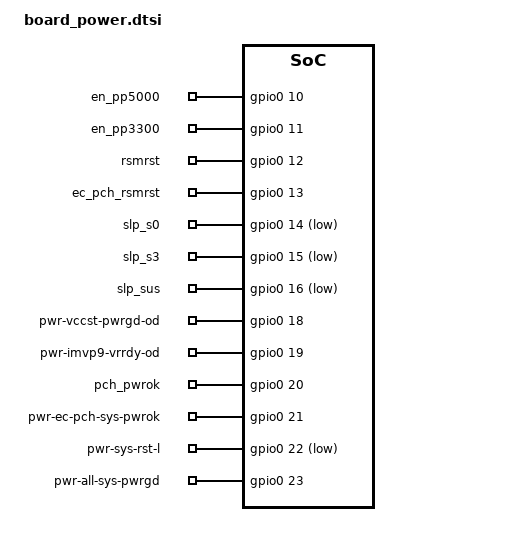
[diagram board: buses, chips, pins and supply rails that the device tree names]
/* Copyright 2022 The ChromiumOS Authors
 * Use of this source code is governed by a BSD-style license that can be
 * found in the LICENSE file.
 */

#include <dt-bindings/gpio_defines.h>

/ {
	common-pwrseq {
		compatible = "intel,ap-pwrseq";
	};
	named-gpios {
		compatible = "named-gpios";
		ec_bl_disable_l {
			gpios = <&gpio0 1 GPIO_INPUT>;
			enum-name = "GPIO_ENABLE_BACKLIGHT";
		};
		gpio_pch_pwrbtn_l: pch_pwrbtn_l {
			gpios = <&gpio0 2 GPIO_OUTPUT>;
			enum-name = "GPIO_PCH_PWRBTN_L";
		};
		gpio_ec_pwr_btn_odl: ec_pwr_btn_odl {
			/* GPIO_PULL_UP will cause this start asserted,
			 * i.e. not pressed.
			 */
			gpios = <&gpio0 3 (GPIO_INPUT | GPIO_PULL_UP)>;
			enum-name = "GPIO_POWER_BUTTON_L";
		};
		gpio_wp_l: wp_l {
			gpios = <&gpio0 4 (GPIO_INPUT | GPIO_ACTIVE_LOW)>;
		};
		entering-rw {
			gpios = <&gpio0 5 GPIO_OUTPUT_LOW>;
			enum-name = "GPIO_ENTERING_RW";
		};
	};
	en_pp5000: pwr-en-pp5000-s5 {
		compatible = "intel,ap-pwrseq-gpio";
		dbg-label = "PP5000_S5 enable output to regulator";
		enum-name = "PWR_EN_PP5000_A";
		gpios = <&gpio0 10 0>;
		output;
	};
	en_pp3300: pwr-en-pp3300-s5 {
		compatible = "intel,ap-pwrseq-gpio";
		dbg-label = "PP3300_S5 enable output to LS";
		enum-name = "PWR_EN_PP3300_A";
		gpios = <&gpio0 11 0>;
		output;
	};
	rsmrst: pwr-pg-ec-rsmrst-odl {
		compatible = "intel,ap-pwrseq-gpio";
		dbg-label = "RSMRST power good from regulator";
		enum-name = "PWR_RSMRST";
		gpios = <&gpio0 12 0>;
		interrupt-flags = <GPIO_INT_EDGE_BOTH>;
	};
	ec_pch_rsmrst: pwr-ec-pch-rsmrst-odl {
		compatible = "intel,ap-pwrseq-gpio";
		dbg-label = "RSMRST output to PCH";
		enum-name = "PWR_EC_PCH_RSMRST";
		gpios = <&gpio0 13 0>;
		output;
	};
	slp_s0: pwr-slp-s0-l {
		compatible = "intel,ap-pwrseq-gpio";
		dbg-label = "SLP_S0_L input from PCH";
		enum-name = "PWR_SLP_S0";
		gpios = <&gpio0 14 GPIO_ACTIVE_LOW>;
		interrupt-flags = <GPIO_INT_EDGE_BOTH>;
		no-enable;
	};
	slp_s3: pwr-slp-s3-l {
		compatible = "intel,ap-pwrseq-gpio";
		dbg-label = "SLP_S3_L input from PCH";
		enum-name = "PWR_SLP_S3";
		gpios = <&gpio0 15 GPIO_ACTIVE_LOW>;
		interrupt-flags = <GPIO_INT_EDGE_BOTH>;
	};
	slp_sus: pwr-slp-sus-l {
		compatible = "intel,ap-pwrseq-gpio";
		dbg-label = "SLP_SUS_L input from PCH";
		enum-name = "PWR_SLP_SUS";
		gpios = <&gpio0 16 GPIO_ACTIVE_LOW>;
		interrupt-flags = <GPIO_INT_EDGE_BOTH>;
	};
	pwr-vccst-pwrgd-od {
		compatible = "intel,ap-pwrseq-gpio";
		dbg-label = "VCCST_PWRGD output to PCH";
		enum-name = "PWR_VCCST_PWRGD";
		gpios = <&gpio0 18 0>;
		output;
	};
	pwr-imvp9-vrrdy-od {
		compatible = "intel,ap-pwrseq-gpio";
		dbg-label = "VRRDY input from IMVP9";
		enum-name = "PWR_IMVP9_VRRDY";
		gpios = <&gpio0 19 0>;
	};
	pch_pwrok: pwr-pch-pwrok {
		compatible = "intel,ap-pwrseq-gpio";
		dbg-label = "PCH_PWROK output to PCH";
		enum-name = "PWR_PCH_PWROK";
		gpios = <&gpio0 20 0>;
		output;
	};
	pwr-ec-pch-sys-pwrok {
		compatible = "intel,ap-pwrseq-gpio";
		dbg-label = "SYS_PWROK output to PCH";
		enum-name = "PWR_EC_PCH_SYS_PWROK";
		gpios = <&gpio0 21 0>;
		output;
	};
	pwr-sys-rst-l {
		compatible = "intel,ap-pwrseq-gpio";
		dbg-label = "SYS_RESET# output to PCH";
		enum-name = "PWR_SYS_RST";
		gpios = <&gpio0 22 GPIO_ACTIVE_LOW>;
		output;
	};
	pwr-all-sys-pwrgd {
		compatible = "intel,ap-pwrseq-gpio";
		dbg-label = "all power good";
		enum-name = "PWR_ALL_SYS_PWRGD";
		gpios = <&gpio0 23 (GPIO_ACTIVE_HIGH | GPIO_PULL_UP)>;
		interrupt-flags = <GPIO_INT_EDGE_BOTH>;
	};
};
